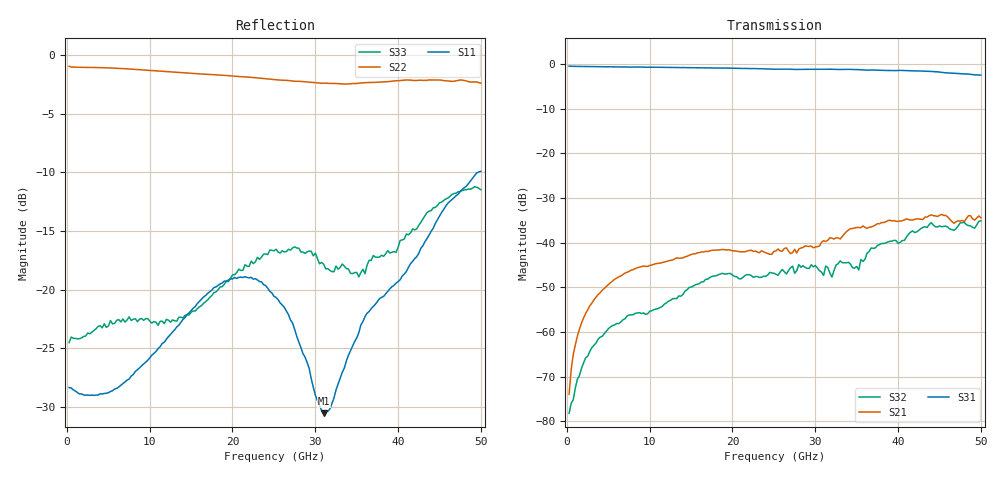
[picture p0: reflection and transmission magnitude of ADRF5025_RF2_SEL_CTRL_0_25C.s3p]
! Device:  ADRF5025
! Description: Silicon SPDT Switch, Reflective
! Frequency:  9kHz -  44.00 GHz
! Ports:
!  RFC = Port 1
!  RF1 = Port 2
!  RF2 = Port 3
! VDD  =  +3.30 Volts
! VSS  =  -3.30 Volts
! CTRL  =  +0.00 Volts
! Data:  Data was collected using an calibrated 4 port network analyzer
!  using G-S-G Probes on Probe Matrix Board.
!  The reference plane is the package pins of ADRF5025 switch.
! Notes: Analog Devices supplies this data as a sample of measured data
!  for this product.  Your particular data for this product may vary.
!  Data was taken at 25 degrees C.
!  Analog Devices reserves the right to change this data at anytime.
# GHz S  dB  R 50
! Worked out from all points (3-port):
!   200 points, 260 MHz to 50.01 GHz, reference 50 ohm
!   strongest paths, dB at 260 MHz, 12.76 GHz, 25.26 GHz, 37.76 GHz, 50.01 GHz:
!     S31: -0.5, -0.8, -1.2, -1.4, -2.5
!     S21: -73.9, -43.9, -41.8, -35.8, -34.4
!     S32: -78.2, -52.5, -47.1, -40.4, -35.1
!   lowest |S11| = -30.5 dB at 31.01 GHz (marker M1), VSWR 1.06, Z = 52.2 - j2.05 ohm
!   |S11| at or under -10 dB: start of sweep to 49.71 GHz
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0.26  -28.35 -6.2  -72.69 58.1  -0.51 -2.6
      -73.87 54.5  -0.96 177.9  -80.21 22.8
      -0.52 -2.6  -78.17 33.0  -24.53 -4.3
1.26  -28.78 -29.2  -60.91 74.5  -0.56 -11.7
      -60.90 74.7  -1.05 170.8  -70.67 68.9
      -0.57 -11.7  -70.54 67.9  -24.19 -29.4
3.26  -29.02 -69.7  -52.79 65.5  -0.63 -29.8
      -52.78 65.2  -1.07 156.4  -62.78 63.9
      -0.63 -29.7  -62.98 62.3  -23.49 -68.7
11.26  -24.87 -179.9  -44.60 14.3  -0.78 -101.7
       -44.58 14.3  -1.38 96.6  -54.34 24.8
       -0.77 -101.7  -54.49 24.9  -22.71 -167.8
18.26  -19.63 129.4  -41.64 -37.1  -0.88 -165.2
       -41.63 -36.9  -1.71 43.6  -47.16 -44.3
       -0.92 -165.2  -47.20 -45.0  -20.01 122.5
25.26  -20.67 68.4  -41.81 -104.2  -1.15 130.7
       -41.85 -104.0  -2.12 -10.1  -47.11 -161.9
       -1.19 131.1  -47.08 -161.6  -16.56 63.5
31.01  -30.55 -41.3  -39.65 -163.5  -1.30 77.8
       -39.56 -162.9  -2.40 -58.8  -47.08 121.8
       -1.18 78.4  -47.34 122.9  -17.84 26.9
40.26  -19.16 -164.0  -35.21 100.8  -1.47 -10.1
       -35.16 101.4  -2.18 -142.2  -39.94 56.8
       -1.46 -10.1  -39.92 55.2  -15.81 -26.4
45.26  -13.44 -179.4  -33.76 58.1  -1.87 -61.2
       -33.67 58.4  -2.15 179.4  -36.40 5.2
       -1.90 -61.4  -36.44 5.1  -12.55 -111.1
50.01  -9.92 146.7  -34.40 23.8  -2.56 -109.3
       -34.44 23.5  -2.41 147.5  -35.11 -30.7
       -2.51 -109.3  -35.10 -30.7  -11.49 176.6
